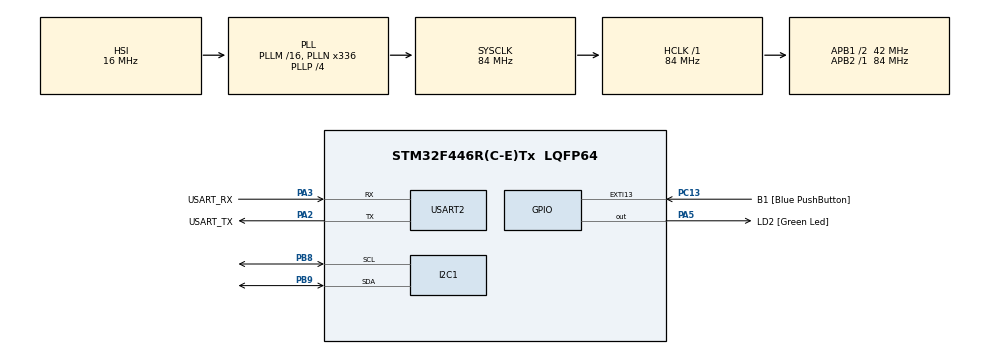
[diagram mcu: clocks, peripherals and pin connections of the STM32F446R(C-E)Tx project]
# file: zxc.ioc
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Dma.I2C1_RX.0.Direction=DMA_PERIPH_TO_MEMORY
Dma.I2C1_RX.0.FIFOMode=DMA_FIFOMODE_DISABLE
Dma.I2C1_RX.0.Instance=DMA1_Stream0
Dma.I2C1_RX.0.MemDataAlignment=DMA_MDATAALIGN_BYTE
Dma.I2C1_RX.0.MemInc=DMA_MINC_ENABLE
Dma.I2C1_RX.0.Mode=DMA_NORMAL
Dma.I2C1_RX.0.PeriphDataAlignment=DMA_PDATAALIGN_BYTE
Dma.I2C1_RX.0.PeriphInc=DMA_PINC_DISABLE
Dma.I2C1_RX.0.Priority=DMA_PRIORITY_LOW
Dma.I2C1_TX.1.Direction=DMA_MEMORY_TO_PERIPH
Dma.I2C1_TX.1.FIFOMode=DMA_FIFOMODE_DISABLE
Dma.I2C1_TX.1.Instance=DMA1_Stream6
Dma.I2C1_TX.1.MemDataAlignment=DMA_MDATAALIGN_BYTE
Dma.I2C1_TX.1.MemInc=DMA_MINC_ENABLE
Dma.I2C1_TX.1.Mode=DMA_NORMAL
Dma.I2C1_TX.1.PeriphDataAlignment=DMA_PDATAALIGN_BYTE
Dma.I2C1_TX.1.PeriphInc=DMA_PINC_DISABLE
Dma.I2C1_TX.1.Priority=DMA_PRIORITY_LOW
Dma.Request0=I2C1_RX
Dma.Request1=I2C1_TX
Mcu.Family=STM32F4
Mcu.Name=STM32F446R(C-E)Tx
Mcu.Package=LQFP64
NVIC.DMA1_Stream0_IRQn=true\:0\:0\:false\:false\:true\:false\:true\:true
NVIC.DMA1_Stream6_IRQn=true\:0\:0\:false\:false\:true\:false\:true\:true
NVIC.I2C1_ER_IRQn=true\:0\:0\:false\:false\:true\:true\:true\:true
NVIC.I2C1_EV_IRQn=true\:0\:0\:false\:false\:true\:true\:true\:true
NVIC.PriorityGroup=NVIC_PRIORITYGROUP_0
NVIC.USART2_IRQn=true\:0\:0\:false\:false\:true\:true\:true\:true
PA13.GPIO_Label=TMS
PA13.Signal=SYS_JTMS-SWDIO
PA14.GPIO_Label=TCK
PA14.Signal=SYS_JTCK-SWCLK
PA2.GPIO_Label=USART_TX
PA2.Mode=Asynchronous
PA2.Signal=USART2_TX
PA3.GPIO_Label=USART_RX
PA3.Mode=Asynchronous
PA3.Signal=USART2_RX
PA5.GPIO_Label=LD2 [Green Led]
PA5.Signal=GPIO_Output
PB3.GPIO_Label=SWO
PB3.Signal=SYS_JTDO-SWO
PB8.GPIO_Pu=GPIO_PULLUP
PB8.Mode=I2C
PB8.Signal=I2C1_SCL
PB9.GPIO_Pu=GPIO_PULLUP
PB9.Mode=I2C
PB9.Signal=I2C1_SDA
PC13.GPIO_Label=B1 [Blue PushButton]
PC13.GPIO_ModeDefaultEXTI=GPIO_MODE_IT_FALLING
PC13.Signal=GPXTI13
PC14-OSC32_IN.Signal=RCC_OSC32_IN
PC15-OSC32_OUT.Signal=RCC_OSC32_OUT
PH0-OSC_IN.Signal=RCC_OSC_IN
PH1-OSC_OUT.Signal=RCC_OSC_OUT
ProjectManager.HeapSize=0x200
ProjectManager.StackSize=0x400
ProjectManager.TargetToolchain=STM32CubeIDE
RCC.AHBFreq_Value=84000000
RCC.APB1CLKDivider=RCC_HCLK_DIV2
RCC.APB1Freq_Value=42000000
RCC.APB1TimFreq_Value=84000000
RCC.APB2Freq_Value=84000000
RCC.APB2TimFreq_Value=84000000
RCC.CortexFreq_Value=84000000
RCC.FLatency-AdvancedSettings=FLASH_LATENCY_2
RCC.HCLKFreq_Value=84000000
RCC.HSE_VALUE=8000000
RCC.HSI_VALUE=16000000
RCC.LSE_VALUE=32768
RCC.PLLN=336
RCC.PLLP=RCC_PLLP_DIV4
RCC.SYSCLKFreq_VALUE=84000000
RCC.SYSCLKSource=RCC_SYSCLKSOURCE_PLLCLK
RCC.USBFreq_Value=168000000
RCC.VCOOutputFreq_Value=336000000
USART2.VirtualMode=VM_ASYNC
board=NUCLEO-F446RE

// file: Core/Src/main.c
/* USER CODE BEGIN Header */
/**
  ******************************************************************************
  * @file           : main.c
  * @brief          : Main program body
  ******************************************************************************
  * @attention
  *
  * Copyright (c) 2025 STMicroelectronics.
  * All rights reserved.
  *
  * This software is licensed under terms that can be found in the LICENSE file
  * in the root directory of this software component.
  * If no LICENSE file comes with this software, it is provided AS-IS.
  *
  ******************************************************************************
  */
/* USER CODE END Header */
#include "main.h"

/* USER CODE BEGIN Includes */
#include "stdarg.h"
#include "string.h"
#include <string.h>
#include <stdio.h>
#include <stdlib.h>
#include <stdarg.h>
#include <ctype.h>
#include <QMC5883.h>
#include <math.h>
/* USER CODE END Includes */

/* USER CODE BEGIN PTD */

//Enum - szkielet maszyny stanów
enum frame_states {
	WAIT_FOR_MESSAGE,
	FIND_FRAME_START,
	COLLECT_FRAME,
	CHECK_RECEIVER_SENDER,
	CHECK_COMMAND_LENGTH,
	CHECK_CHECKSUM,
	ANALYZE_COMMAND
};

/* USER CODE END PTD */

/* USER CODE BEGIN PD */

#define WAIT_FOR_MESSAGE 1
#define FIND_FRAME_START 2
#define COLLECT_FRAME 3
#define CHECK_RECEIVER_SENDER 4
#define CHECK_COMMAND_LENGTH 5
#define CHECK_CHECKSUM 6
#define ANALYZE_COMMAND 7

// Długość bufora odbiorczego/nadawczego
#define buff_length 1000

// Dzielnik, przez który dzielona z resztą (modulo %) jest suma wartości dziesiętnej wszystkich znaków w polu 'dane' ramki
#define checksum_div 32\

// Minimalna i maksymalna długość ramki
#define frame_min_length 12
#define frame_max_length 268

#define WAIT_FOR_MESSAGE 1
#define FIND_FRAME_START 2
#define COLLECT_FRAME 3
#define CHECK_COMMAND_LENGTH 5
#define CHECK_CHECKSUM 6
#define ANALYZE_COMMAND 7

/* USER CODE END PD */

I2C_HandleTypeDef hi2c1;
DMA_HandleTypeDef hdma_i2c1_rx;
DMA_HandleTypeDef hdma_i2c1_tx;

UART_HandleTypeDef huart2;

/* USER CODE BEGIN PV */

QMC_t sensor;
float Compas_Value;

// Urządzenia stm - to stm, usr to użytkownik
char device_address[3] = "STM";
char source_address[3] = "USR";

// Ilość znaków pobranych z otrzymanej wiadomości. Znaki pobierane są gdy znaleziony zostanie początek ramki aż do napotkania znaku końca ramki. Oba te znaki nie są pobierane
__IO uint16_t frame_length;

// Tablica, do której pobierana jest ramka danych
__IO uint16_t frame[buff_length];

// Ilość znaków w polu 'dane' ramki, które będą komendą do wykonania dla programu
__IO uint16_t command_length;

// Ilość znaków składających się na otrzymaną wiadomość (pomijając znak końca transmisji)
__IO uint16_t message_length;

// Tablica, do której pobierana jest z bufora odbiorczego otrzymana wiadomość
__IO uint8_t message[buff_length];

// Wskaźnik pomocniczy dla odebranej wiadomości,
	// Po pierwsze pozwala na sprawdzenie każdego pojedynczego odebranego znaku, czy nie jest on znakiem końca transmisji
	// Po drugie, pozwala na ponowne analizowanie wiadomości pod kątem szukania ramki, gdy jedna ramka już została przeanalizowana lub napodkano kilka znaków początku ramki
__IO uint8_t message_idx;

// Bufor odbiorczy
__IO uint8_t buf_rx[buff_length];
// Wskaźnik pierwszego wolnego miejsca
__IO uint16_t rx_empty = 0;
// Wskaźnik miejsca ktore nie jest jeszcze zanalizowane
__IO uint16_t rx_busy = 0 ;

// To samo ale bufor nadawczy
__IO uint8_t buf_tx[buff_length];
__IO uint16_t tx_empty = 0;
__IO uint16_t tx_busy = 0;

// zmienna aktualnego stanu analizy
__IO enum frame_states frame_state = WAIT_FOR_MESSAGE;

int16_t x, y, z;

/* USER CODE END PV */

void SystemClock_Config(void);
static void MX_GPIO_Init(void);
static void MX_DMA_Init(void);
static void MX_USART2_UART_Init(void);
static void MX_I2C1_Init(void);
/* USER CODE BEGIN PFP */

// Callbacki
void HAL_UART_RxCpltCallback(UART_HandleTypeDef *huart);
void HAL_UART_TxCpltCallback(UART_HandleTypeDef *huart);

// Ogólne funkcje użytkowe
void send(char *msgToSend, ...);
void increase_rx_empty();
void increase_rx_busy();
void increase_tx_empty();
void increase_tx_busy();
void reset_frame_state();
void send_answer_message(char* error_msg, ...);
void change_int_to_char_arr(char *array_reference, uint8_t err_checksum);

uint8_t get_char();
uint8_t rx_has_data();
uint8_t tx_has_data();
uint8_t is_char_frame_start(uint8_t *single_char);
uint8_t is_char_frame_end(uint8_t *single_char);
uint8_t is_string_alphanumeric(char tmp[], int array_size);
uint8_t get_message(char *array_reference);
uint8_t is_char_endmessage(char single_char);

// Funkcje typowo pod czujnik

uint8_t QMC_init(QMC_t *qmc,I2C_HandleTypeDef *i2c,uint8_t Output_Data_Rate)
{
	uint8_t array[2];
	qmc->i2c=i2c;
	qmc->Control_Register=0x11;
	array[0]=1;
	array[1]=qmc->Control_Register;

	if(Output_Data_Rate==200)qmc->Control_Register|=0b00001100;
	else if(Output_Data_Rate==100)qmc->Control_Register|=0b00001000;
	else if(Output_Data_Rate==50)qmc->Control_Register|=0b00000100;
	else if(Output_Data_Rate==10)qmc->Control_Register|=0b00000000;
	else qmc->Control_Register|=0b00001100;

	if(HAL_I2C_Mem_Write(qmc->i2c, 0x1A, 0x0B, 1, &array[0], 1, 100)!=HAL_OK)return 1;
	if(HAL_I2C_Mem_Write(qmc->i2c, 0x1A, 0x09, 1, &array[1], 1, 100)!=HAL_OK)return 1;

	return 0;
}

uint8_t QMC_read(QMC_t *qmc, int16_t *x, int16_t *y, int16_t *z)
{
    uint8_t data[6];
    if (HAL_I2C_Mem_Read_DMA(qmc->i2c, 0x1A, 0x00, I2C_MEMADD_SIZE_8BIT, data, 6) != HAL_OK)
        return 1;

    *x = (int16_t)((data[1] << 8) | data[0]);
    *y = (int16_t)((data[3] << 8) | data[2]);
    *z = (int16_t)((data[5] << 8) | data[4]);

    qmc->heading = atan2f((float)*y, (float)*x) * 57.3f; // Konwersja na stopnie
    return 0;
}

float QMC_readHeading(QMC_t *qmc)
{
    int16_t x, y, z;
    QMC_read(qmc, &x, &y, &z);
    return qmc->heading;
}

uint8_t QMC_Standby(QMC_t *qmc)
{
    uint8_t array[1] = {0};
    if (HAL_I2C_Mem_Write_DMA(qmc->i2c, 0x1A, 0x09, 1, &array[0], 1) != HAL_OK)
        return 1;
    return 0;
}

uint8_t QMC_Reset(QMC_t *qmc)
{
    uint8_t array[1] = {0x80};
    return HAL_I2C_Mem_Write_DMA(qmc->i2c, 0x1A, 0x0A, I2C_MEMADD_SIZE_8BIT, &array[0], 1) != HAL_OK;
}

/* USER CODE END PFP */

/* USER CODE BEGIN 0 */

// Sprawdzenie czy bufor odbiorczy zawiera jakieś dane
uint8_t rx_has_data() {
	// Jeśli empty i busy wskazuja to samo miejsce to znaczy, że pusty
	if (rx_empty == rx_busy)
		return 0;
	else
		return 1;
}

// To samo do bufora nadawczego
uint8_t tx_has_data() {
	if (tx_empty == tx_busy)
		return 0;
	else
		return 1;
}

void increase_rx_empty(){
	rx_empty++;
	rx_empty %= buff_length;
}

void increase_rx_busy(){
	rx_busy++;
	rx_busy %= buff_length;
}

void increase_tx_empty(){
	tx_empty++;
	tx_empty %= buff_length;
}

void increase_tx_busy(){
	tx_busy++;
	tx_busy %= buff_length;
}

uint8_t get_char() {
	uint8_t tmp;
	if (rx_has_data() == 1) {
		tmp = buf_rx[rx_busy];
		increase_rx_busy();
		return tmp;
	}
	else {
		return 0;
	}
}

uint8_t is_char_endmessage(char single_char){
	if (single_char == 10 || single_char == 13)
		return 1;
	else
		return 0;
}

uint8_t get_message(char *array_reference) {
	static uint8_t tmp_buff[buff_length];
	static uint8_t idx = 0;
	uint8_t mess_length;

	while (rx_has_data() == 1) {
		tmp_buff[idx] = getchar();

		if(is_char_endmessage(tmp_buff[idx])) {
			tmp_buff[idx] = 0;

			for (int i = 0; i <= idx; i++)
				array_reference[i] = tmp_buff[i];

			mess_length = idx;
			idx = 0;
			return mess_length;
		}
		else {
			idx++;
			if (idx >= buff_length)
				return 0;
		}
	}
	return 0;
}

void change_int_to_char_arr(char *array_reference, uint8_t int_val) {
	if (int_val > 100)
		sprintf(array_reference, "%d", int_val);
	else if (int_val > 10)
		sprintf(array_reference,"0%d", int_val);
	else
		sprintf(array_reference,"00%d", int_val);
}

// Z STM do PC wysyłanie danych

void send(char *msgToSend, ...) {
	// tablica pomocniczna
	char data_to_send[buff_length];
	// wskaźnik pomocniczy
	uint16_t idx;
	// lista argumentów
	va_list arglist;

	// kopiowanie znaków (char) do tablicy
	va_start(arglist, msgToSend);
	vsprintf(data_to_send, msgToSend, arglist);
	va_end(arglist);

	// Ustawienie wskaźnika pomocnicznego na pierwsze wolne miejsce
	idx = tx_empty;

	// wrzucanie danych do bufora nadawczego
	for (int i = 0; i < strlen(data_to_send); i++) {
		buf_tx[idx] = data_to_send[i];
		idx++;
		idx %= buff_length;
	}

	__disable_irq();

	if (tx_has_data() == 0 && (__HAL_UART_GET_FLAG(&huart2, UART_FLAG_TXE) == SET)) {
		tx_empty = idx;
		HAL_UART_Transmit_IT(&huart2, &buf_tx[tx_busy], 1);
		increase_tx_busy();
	}
	else
		tx_empty = idx;
	__enable_irq();
}

// Z STM do PC
void send_answer_message(char* ans_msg, ...) {
	char answer_data[buff_length];
	char answer_msg[buff_length];
	uint16_t answer_length;
	va_list arglist;

	va_start(arglist, ans_msg);
	vsprintf(answer_data, ans_msg, arglist);
	va_end(arglist);

	answer_length = strlen(answer_data);

	uint8_t ans_checksum = 0;
	uint16_t ans_checksum_sum = 0;

	for (int i = 0; i < answer_length; i++)
		ans_checksum_sum += answer_data[i];

	ans_checksum = ans_checksum_sum % checksum_div;

	char ans_command_len_arr[3];
	change_int_to_char_arr(ans_command_len_arr, answer_length);
	char ans_checksum_arr[3];
	change_int_to_char_arr(ans_checksum_arr, ans_checksum);
	sprintf(answer_msg, "\%s%s%s%s%s\*" , device_address, source_address, ans_command_len_arr, ans_msg, ans_checksum_arr);
	send(answer_msg);
}

//odpowiedni znak!
uint8_t is_char_frame_start(uint8_t *single_char) {
	if (single_char == 0x3A)
		return 1;
	else
		return 0;
}

//odpowiedni znak!
uint8_t is_char_frame_end(uint8_t *single_char) {
	if (single_char == 0x3B)
		return 1;
	else
		return 0;
}

void reset_frame_state() {
	frame_length = 0;
	frame_state = FIND_FRAME_START;
}

uint8_t is_string_alphanumeric(char tmp[], int array_size) {
	for (int i = 0; i < array_size; i++) {
		if (!(tmp[i] >= '0' && tmp[i] <= '9'))
			return 0;
	}
	return 1;
}

// Callbacki

//Nadawczy
void HAL_UART_RxCallback(UART_HandleTypeDef *huart) {
	if (huart == &huart2) {
		increase_rx_empty();
		HAL_UART_Receive_IT(&huart2, &buf_rx[rx_empty], 1);
	}
}

//Odbiorczy
void HAL_UART_TxCallback(UART_HandleTypeDef *huart) {
	if (huart == &huart2) {
		if (tx_has_data() == 1){
			static uint8_t tmp;
			tmp = buf_tx[tx_busy];
			increase_tx_busy();
			HAL_UART_Transmit_IT(&huart2, &tmp, 1);
		}
	}
}

/* USER CODE END 0 */

int main(void)
{

  /* MCU Configuration--------------------------------------------------------*/

  /* Reset of all peripherals, Initializes the Flash interface and the Systick. */
  HAL_Init();

  /* Configure the system clock */
  SystemClock_Config();

  /* Initialize all configured peripherals */
  MX_GPIO_Init();
  MX_DMA_Init();
  MX_USART2_UART_Init();
  MX_I2C1_Init();
  /* USER CODE BEGIN 2 */
  HAL_UART_Receive_IT(&huart2, &buf_rx[rx_empty], 1);

  /* USER CODE END 2 */

  /* Infinite loop */
  /* USER CODE BEGIN WHILE */
  while (1)
  {
	  // Program do switcha wchodzi tylko wtedy, gdy:
	  // 1. Gdy są dane do przeanalizowania - rx_has_data() == 1
	  // 2. Analiza danych została rozpoczęta (frame_state != WAIT_FOR_MESSAGE && rx_has_data() == 0)
	  // W momencie, gdy analiza trwa, a przybędą nowe dane, program będzie wykonywał warunek numer 1, lecz frame_state będzie dalej kontynuowało analizę uprzednich danych
	  // Aż wszystkie dane z tablic 'frame' i 'message' nie zostaną przeanalizowane
	  			if (rx_has_data() || (frame_state != WAIT_FOR_MESSAGE && rx_has_data() == 0)) {
	  				// Pojedynczy znak, do którego zczytywane będą dane
	  				uint8_t single_char;

	  				// Tablica pomocnicza
	  				char temp[3];

	  				switch (frame_state) {

	  				// Stan ten odpowiada za czekanie na wiadomość oraz pobieranie otrzymanych znaków aż do otrzymania znaku końca transmisji
	  				// Gdy taki znak nadejdzie, cała wiadomość kolekcjonowana jest do tablicy 'message' i stan zmieniany jest na FIND_FRAME_START
	  				case WAIT_FOR_MESSAGE:

	  					// Sprawdzanie, czy są nowe, nieprzeanalizowane jeszcze dane
	  					if (message_idx == rx_empty)
	  						break;

	  					// Pobieranie pojedynczego znaku
	  					single_char = buf_rx[message_idx];

	  					// Inkrementowanie pojedynczego wskaźnika
	  					message_idx++;
	  					message_idx %= buff_length;

	  					// Sprawdzanie, czy znak nie jest znakiem końca transmisji
	  					if (is_char_endmessage(single_char)) {
	  						message_length = get_message(message);

	  						// Sprawdzanie, czy nie doszło do przepełnienia tablicy pomocniczej zbierającej otrzymaną wiadomość
	  						if (message_length > 0) {
	  							message_idx = 0;
	  							frame_state = FIND_FRAME_START;
	  						}
	  						}
	  					break;

	  					// Stan odpowiada za poszukiwanie znaku początku ramki
	  					// Jeżeli początek zostanie odnaleziony, analiza przechodzi do następnego stanu
	  				case FIND_FRAME_START:

	  					// Iterowanie zaczyna się zawsze od 'message_idx', czyli miejsca z ostatnią przeanalizowana daną z tablicy 'message'
	  					for (int i = message_idx; i < message_length; i++) {
	  						// Jeżeli napotkano znak początku ramki
	  						if (is_char_frame_start(message[i])) {
	  							// Preinkrementacja i (żeby pominąć znak początku ramki w kolekcjonowaniu), jeżeli będzie >= message_length, to znaczy, że było to ostatnie okrążenie i ostatni znak w wiadomości
	  							// Jeżeli nie, to przypisujemy to i do message_idx i jedziemy dalej
	  							if (++i < message_length) {

	  								// Wartość i przypisywana jest do 'message_idx', żeby zacząć kolekcjonować ramkę od następnego miejsca po znaku rozpoczęcia ramki
	  								// Pomijanie znaku i przejście do następnego stanu
	  								message_idx = i;
	  								frame_state = COLLECT_FRAME;
	  								break;
	  							}
	  						}
	  					}

	  					// Gdy nie znaleziono znaku początku ramki w wiadomości po iteracji pętlą for po tablicy 'message'
	  					if (frame_state == FIND_FRAME_START) {
	  						frame_state = WAIT_FOR_MESSAGE;
	  						message_idx = rx_busy;
	  					}
	  					break;

	  					// Stan odpowiada za skolekcjonowanie całej ramki z otrzymanej wiadomości
	  					// Iterację zaczyna się od miejsca + 1, w którym wystąpił znak początku ramki
	  					// Każdy znak należy sprawdzić pod kątem, czy nie jest on kolejnym znakiem początku ramki
	  					// Jeżeli tak, należy zapisać miejsce jego występowania do wskaźnika 'message_idx', a następnie wrócić do stanu FIND_FRAME_START
	  					// Każdy znak należy także sprawdzić pod kątem, czy nie jest on znakiem końca ramki
	  					// Jeżeli tak, należy sprawdzić, czy skolekcjonowana ramka jest dłuższa, niż minimum znaków, z których ramka musi zostać zbudowana
	  					// bo nie ma sensu analizować dalej ramki, która i tak będzie błędna
	  					// Jeżeli długość skolekcjonowanej ramki > minimum, do wskaźnika message_idx przypisywane jest ++i, które oznacza, na którym znaku
	  					// zakończyła się analiza danych z tablicy 'message', przy czym pomija się znak końca ramki, dlatego ++i (żeby zacząć analizę od następnego znaku)
	  					// Jeżeli znak nie jest znakiem ani początku, ani końca ramki, jest kolekcjonowany do tablicy 'frame', a ilość skomplementowanych danych w zmiennej 'frame_length'
	  					// jest inkrementowana
	  						// Należy jednak sprawdzać, czy skolekcjonowana już teraz ramka nie przekroczyła maksymalnej długości, jeżeli tak, należy wrócić do stanu FIND_FRAME_START,
	  					// bo nie ma sensu analizować ramki, która wiadomo, że będzie nieprawidłowa, bo zawiera więcej znaków, niż powinna
	  				case COLLECT_FRAME:

	  					// Iterowanie po otrzymanej wiadomości, żeby znaleźć ramkę
	  					for (int i = message_idx; i < message_length; i++) {
	  						// Pobranie pojedynczego znaku
	  							single_char = message[i];

	  							// Jeżeli znak jest kolejnym znakiem początku
	  							if (is_char_frame_start(single_char)) {
	  								// Powrót do początku analizy
	  								message_idx = i;
	  								frame_state = FIND_FRAME_START;
	  								frame_length = 0;
	  						break;
	  							}
	  							// Jeżeli znak jest znakiem końca ramki
	  							else if (is_char_frame_end(single_char)) {
	  								// Jeżeli skolekcjonowana ramka jest mniejsza niż jej minimalna długość
	  								if (frame_length < frame_min_length) {
	  									// Powrót do początku analizy
	  									message_idx = ++i;
	  									reset_frame_state();
	  									break;
	  								}

	  								// Pominięcie znaku końca ramki i przejście do kolejnego stanu
	  								message_idx = ++i;
	  								frame_state = CHECK_RECEIVER_SENDER;
	  								break;
	  							}
	  							// Jeżeli znak jest innym znakiem niż początek/koniec ramki
	  							else {
	  								// Kolekcjonowanie ramki
	  									frame[frame_length] = single_char;
	  									frame_length++;

	  										// Jeżeli skolekcjonowana ramka przekroczyła maksymalną długość (min_frame_length + 256 (dane w protokole))
	  									if (frame_length >= frame_max_length) {
	  										// Powrót do początku analizy
	  										message_idx = ++i;
	  										break;
	  									}
	  							}
	  					}

	  					// Jeżeli iterowano po buforze i nie znaleziono znaku końca ramki (a znaleziono początek w poprzednim stanie) następuje powrót do czekania na dane
	  					// Lub przerwano iterowanie, lecz nie zmieniono stanu na następny
	  					if (frame_state == COLLECT_FRAME)
	  						reset_frame_state();
	  					break;

	  					// Stan ten odpowiada za sprawdzenie nadawcy/odbiorcy w ramce
	  					// Jeżeli ramka jest skolekcjonowana, należy najpierw sprawdzić, czy 'odbiorca' z ramki jest taki sam jak 'device_address', czyli urządzenie, na którym uruchomiony jest program
	  					// Jeżeli tak, należy skopiować 3 znaki odpowiadające 'nadawcy' ramki i przejść do następnego stanu
	  					// Jeżeli nie, należy zignorować ramkę, bo nawet gdyby dalsza analiza wykazałaby, że jest poprawna, nie jest ona przeznaczona dla tego urządzenia
	  				case CHECK_RECEIVER_SENDER:
	  					;

	  					// Porównanie odbiorcy
	  					if (strncmp(&frame[3], device_address, 3) == 0) {

	  						// Kopiowanie nadawcy
	  						strncpy(source_address, frame, 3);
	  						frame_state = CHECK_COMMAND_LENGTH;
	  					}
	  					else {
	  						reset_frame_state();
	  					}

	  					break;

	  					// Stan odpowiada za sprawdzanie długości komendy, czyli ilości znaków, które są w polu 'dane' ramki i które mają być traktowane jako polecenie dla programu
	  					// Najpierw należy wyodrębnić 3 znaki dłguości komendy do osobnej tablicy,
	  					// Następnie należy sprawdzić, czy znaki są cyframi
	  					// Jeżeli nie, należy zwrócić komunikat o złej długości komendy
	  					// Jeżeli tak, należy sprawdzić:
	  					// Czy podana dłguość komendy nie jest większa niż maksymalna ilość znaków w ramce 'dane' (256)
	  					// Czy ilość znaków w polu 'dane' nie wynosi 0 (wtedy ramka jest 'pusta', bo nie ma danych do przeanalizowania)
	  					// Jeżeli długość komendy się zgadza, należy przejść do następnego stanu
	  				case CHECK_COMMAND_LENGTH:
	  					;

	  					// Kopiowanie znaków długości komendy do tablicy pomocniczej
	  					strncpy(temp, &frame[6], 3);

	  					// Sprawdzanie, czy znaki są cyframi
	  					if (is_string_alphanumeric(temp, 3) == 0) {

	  						// nieprawidłowa długość komendy
	  						send_answer_message("WRLEN");
	  						reset_frame_state();
	  						break;
	  					}

	  					// Zamiana z tablicy charów (stringa) na int
	  					command_length = atoi(temp);

						// Sprawdzanie, czy długość komendy nie posiada za dużej wartości (niż zadeklarowana ilość danych w ramce dane w protokole na papierze)
						// Oraz czy ramka nie przyszła pusta (wartość int długości komendy > 0 a ilość danych 0)
						if (command_length <= 256 && frame_length - frame_min_length == command_length) {
							//poprawne
							frame_state = CHECK_CHECKSUM;
							// Sprawdzanie, czy ramka nie przyszła pusta
						} else if (frame_length - frame_min_length == 0) {
							reset_frame_state();

							//pusta ramka
							send_answer_message("WRFRM");
						}
						// Zwracanie błędu, że długość komendy jest zła
						else {
							reset_frame_state();
							//zła długość komendy
							send_answer_message("WRLEN");
						}
						break;

						// Stan odpowiada za porównanie otrzymanej sumy kontrolnej z wyliczoną na podstawie otrzymanych danych
						// Najpierw należy wydzielić znaki sumy kontrolnej do osobnej tablicy, a następnie sprawdzić, czy są cyframi
						// Jeżeli nie, należy wysłać komunikat zwrotny o złej sumie kontrolnej
						// Jeżeli tak, należy zamienić znaki na wartość int
						// Następnie należy wyliczyć wartość dziesiętną wszystkich znaków z pola 'dane'
						// Po zsumowaniu wartości, należy podzielić z resztą (modulo '%') sumę przez z góry ustalony dzielnik 'checksum_div'
						// Ostatecznie należy porównać obie sumy kontrolne
						// Jeżeli obliczona suma różni się od otrzymanej, należy wysłać odpowiedni komunikat i wrócić do stanu FIND_FRAME_START
						// Jeżeli sumy się zgadzają, należy przejść dalej
	  				case CHECK_CHECKSUM:
	  					;

	  					uint8_t checksumLength = 3;

	  					// Definiowanie miejsca, w którym zaczyna się w ramce suma kontrolna (gdy suma jest po danych)
	  					uint16_t checksumStart = frame_length - checksumLength;
	  					uint16_t checksum;

	  					// Kopiowanie sumy kontrolnej do tablicy pomocniczej
	  					strncpy(temp, &frame[checksumStart], 3);

	  					// Sprawdzanie, czy znaki sumy kontrolnej są cyframi
	  					if (is_string_alphanumeric(temp, 3) == 0) {

	  						// nieprawidłowa suma kontrolna
	  						send_answer_message("WRCHSUM");
	  						reset_frame_state();
	  						break;
	  					}
	  					checksum = atoi(temp);

	  					uint16_t dataSum = 0;

	  					// Kolekcjonowanie wartości liczbowej danych
	  					for (int i = 9; i < checksumStart; i++)
	  						dataSum += frame[i];

	  					// Obliczanie reszty z sumy kontrolnej
	  					uint8_t readChecksum = dataSum % checksum_div;

	  					// Porównanie sumy kontrolnej
	  					if (checksum == readChecksum) {
	  						frame_state = ANALYZE_COMMAND;
	  					}
	  					else {
	  						send_answer_message("WRCHSUM");
	  						reset_frame_state();
	  					}
	  					break;

	  					// Stan ten odpowiada za przeanalizowanie komendy, czyli znaków z pola 'dane', które mają być traktowane jako polecenie
	  					// Tutaj analiza odbywa się w zależności od tego, co zaprojektowano w protkole
	  				case ANALYZE_COMMAND:
	  					char command[256];
	  					uint8_t acctual_command = frame_length - frame_min_length;
	  					strncpy(command, &frame[9], acctual_command);

	  					//Reset urządzenia
	  					if (strcmp(command, "RST") == 0) {
	  						// Wykonanie resetu
	  						QMC_Reset(&sensor);
	  						send_answer_message("RESET");
	  						reset_frame_state();
	  						break;
	  					}

	  					//Standby
	  					else if (strcmp(command, "STANDBY") == 0){
	  						QMC_Standby(&sensor);
	  						send_answer_message("ZASTOPOWANO");
	  						reset_frame_state();
	  						break;
	  					}

	  					// Ustawienie i włączenie pobioru danych w danym interwale czasowym
	  					else if (strncmp(command, "SETINTERVAL[", 12) == 0) {
	  						char *delayPtr = command + 12; // wskaźnik na fragment po "SETINTERVAL["
	  						char *endBracket = strchr(delayPtr, ']');
	  						if (endBracket != NULL) {
	  							*endBracket = '\0'; // Zakończ ciąg
	  							int Hz = atoi(delayPtr); // Konwersja na int
	  							if (Hz == 200 || Hz == 100 || Hz == 50 || Hz == 10) {
	  								QMC_init(&sensor, &hi2c1, Hz);
	  								send_answer_message("INTERVAL=%d", Hz);
	  								reset_frame_state();
	  								break;
	  							} else {
	  								send_answer_message("WPISANO_ZLY_INTERWAL");
	  								reset_frame_state();
	  								break;
	  							}
	  						}
	  					}

	  					// Aktualne dane pobiór
	  					else if (strcmp(command, "GET") == 0)
	  					{
	  						QMC_read(&sensor, &x, &y, &z);
	  						send_answer_message("X:%d,Y:%d,Z:%d\n", x, y, z);
	  						reset_frame_state();
	  						break;
	  					}

			  // Pobór kąta
			 /* else if (strcmp(command, "GETANGLE") == 0)
			  {
				  QMC_read(&sensor, &angle);
				  send_answer_message("ANGLE: %d\n", angle);
				  reset_frame_state();
				  break;
			  }
			  else if (strcmp(command, "CFG") == 0)
			  {
				  if (Hz == 200 || Hz == 100 || Hz == 50 || Hz == 10)
				  {
					  send_answer_message("Hz: %d", Hz);
					  reset_frame_state();
					  break;
				  }
				  else
				  {
					  send_answer_message("NIE_USTAWIONO_INTERWALU");
					  reset_frame_state();
					  break;
				  }
			  }*/

	  				}

	  			}
    /* USER CODE END WHILE */

  	  }
	}

void SystemClock_Config(void)
{
  RCC_OscInitTypeDef RCC_OscInitStruct = {0};
  RCC_ClkInitTypeDef RCC_ClkInitStruct = {0};

  /** Configure the main internal regulator output voltage
  */
  __HAL_RCC_PWR_CLK_ENABLE();
  __HAL_PWR_VOLTAGESCALING_CONFIG(PWR_REGULATOR_VOLTAGE_SCALE3);

  /** Initializes the RCC Oscillators according to the specified parameters
  * in the RCC_OscInitTypeDef structure.
  */
  RCC_OscInitStruct.OscillatorType = RCC_OSCILLATORTYPE_HSI;
  RCC_OscInitStruct.HSIState = RCC_HSI_ON;
  RCC_OscInitStruct.HSICalibrationValue = RCC_HSICALIBRATION_DEFAULT;
  RCC_OscInitStruct.PLL.PLLState = RCC_PLL_ON;
  RCC_OscInitStruct.PLL.PLLSource = RCC_PLLSOURCE_HSI;
  RCC_OscInitStruct.PLL.PLLM = 16;
  RCC_OscInitStruct.PLL.PLLN = 336;
  RCC_OscInitStruct.PLL.PLLP = RCC_PLLP_DIV4;
  RCC_OscInitStruct.PLL.PLLQ = 2;
  RCC_OscInitStruct.PLL.PLLR = 2;
  if (HAL_RCC_OscConfig(&RCC_OscInitStruct) != HAL_OK)
  {
    Error_Handler();
  }

  /** Initializes the CPU, AHB and APB buses clocks
  */
  RCC_ClkInitStruct.ClockType = RCC_CLOCKTYPE_HCLK|RCC_CLOCKTYPE_SYSCLK
                              |RCC_CLOCKTYPE_PCLK1|RCC_CLOCKTYPE_PCLK2;
  RCC_ClkInitStruct.SYSCLKSource = RCC_SYSCLKSOURCE_PLLCLK;
  RCC_ClkInitStruct.AHBCLKDivider = RCC_SYSCLK_DIV1;
  RCC_ClkInitStruct.APB1CLKDivider = RCC_HCLK_DIV2;
  RCC_ClkInitStruct.APB2CLKDivider = RCC_HCLK_DIV1;

  if (HAL_RCC_ClockConfig(&RCC_ClkInitStruct, FLASH_LATENCY_2) != HAL_OK)
  {
    Error_Handler();
  }
}

static void MX_I2C1_Init(void)
{

  hi2c1.Instance = I2C1;
  hi2c1.Init.ClockSpeed = 100000;
  hi2c1.Init.DutyCycle = I2C_DUTYCYCLE_2;
  hi2c1.Init.OwnAddress1 = 0;
  hi2c1.Init.AddressingMode = I2C_ADDRESSINGMODE_7BIT;
  hi2c1.Init.DualAddressMode = I2C_DUALADDRESS_DISABLE;
  hi2c1.Init.OwnAddress2 = 0;
  hi2c1.Init.GeneralCallMode = I2C_GENERALCALL_DISABLE;
  hi2c1.Init.NoStretchMode = I2C_NOSTRETCH_DISABLE;
  if (HAL_I2C_Init(&hi2c1) != HAL_OK)
  {
    Error_Handler();
  }

}

static void MX_USART2_UART_Init(void)
{

  huart2.Instance = USART2;
  huart2.Init.BaudRate = 115200;
  huart2.Init.WordLength = UART_WORDLENGTH_8B;
  huart2.Init.StopBits = UART_STOPBITS_1;
  huart2.Init.Parity = UART_PARITY_NONE;
  huart2.Init.Mode = UART_MODE_TX_RX;
  huart2.Init.HwFlowCtl = UART_HWCONTROL_NONE;
  huart2.Init.OverSampling = UART_OVERSAMPLING_16;
  if (HAL_UART_Init(&huart2) != HAL_OK)
  {
    Error_Handler();
  }

}

static void MX_DMA_Init(void)
{

  /* DMA controller clock enable */
  __HAL_RCC_DMA1_CLK_ENABLE();

  /* DMA interrupt init */
  /* DMA1_Stream0_IRQn interrupt configuration */
  HAL_NVIC_SetPriority(DMA1_Stream0_IRQn, 0, 0);
  HAL_NVIC_EnableIRQ(DMA1_Stream0_IRQn);
  /* DMA1_Stream6_IRQn interrupt configuration */
  HAL_NVIC_SetPriority(DMA1_Stream6_IRQn, 0, 0);
  HAL_NVIC_EnableIRQ(DMA1_Stream6_IRQn);

}

static void MX_GPIO_Init(void)
{
  GPIO_InitTypeDef GPIO_InitStruct = {0};

  /* GPIO Ports Clock Enable */
  __HAL_RCC_GPIOC_CLK_ENABLE();
  __HAL_RCC_GPIOH_CLK_ENABLE();
  __HAL_RCC_GPIOA_CLK_ENABLE();
  __HAL_RCC_GPIOB_CLK_ENABLE();

  /*Configure GPIO pin Output Level */
  HAL_GPIO_WritePin(LD2_GPIO_Port, LD2_Pin, GPIO_PIN_RESET);

  /*Configure GPIO pin : B1_Pin */
  GPIO_InitStruct.Pin = B1_Pin;
  GPIO_InitStruct.Mode = GPIO_MODE_IT_FALLING;
  GPIO_InitStruct.Pull = GPIO_NOPULL;
  HAL_GPIO_Init(B1_GPIO_Port, &GPIO_InitStruct);

  /*Configure GPIO pin : LD2_Pin */
  GPIO_InitStruct.Pin = LD2_Pin;
  GPIO_InitStruct.Mode = GPIO_MODE_OUTPUT_PP;
  GPIO_InitStruct.Pull = GPIO_NOPULL;
  GPIO_InitStruct.Speed = GPIO_SPEED_FREQ_LOW;
  HAL_GPIO_Init(LD2_GPIO_Port, &GPIO_InitStruct);

}

void Error_Handler(void)
{
  __disable_irq();
  while (1)
  {
  }
}
